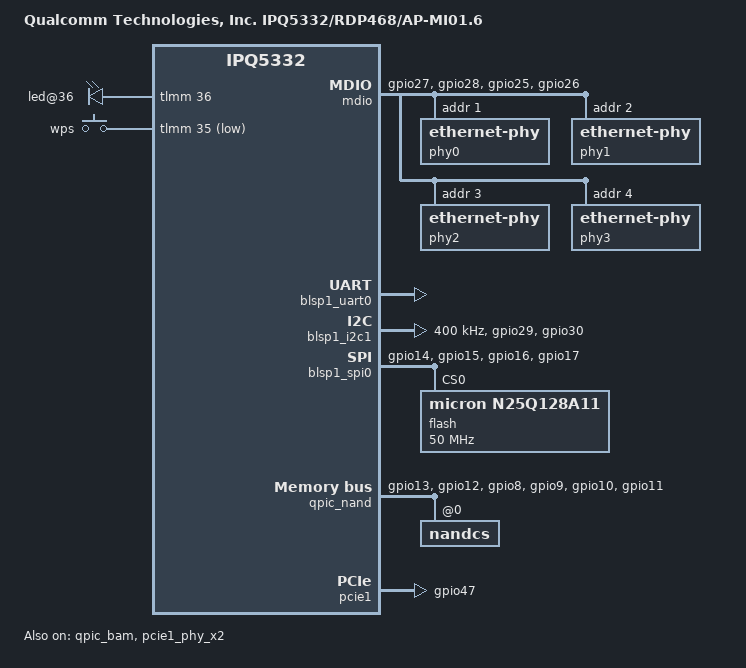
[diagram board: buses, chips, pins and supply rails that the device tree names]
// SPDX-License-Identifier: (GPL-2.0+ OR BSD-3-Clause)
/*
 * IPQ5332 RDP468 board device tree source
 *
 * Copyright (c) 2020-2021 The Linux Foundation. All rights reserved.
 * Copyright (c) 2022-2023 Qualcomm Innovation Center, Inc. All rights reserved.
 */

/dts-v1/;

#include <dt-bindings/gpio/gpio.h>
#include <dt-bindings/input/input.h>
#include "ipq5332.dtsi"

/ {
	model = "Qualcomm Technologies, Inc. IPQ5332/RDP468/AP-MI01.6";
	compatible = "qcom,ipq5332-ap-mi01.6", "qcom,ipq5332-rdp468", "qcom,ipq5332";

	aliases {
		serial0 = &blsp1_uart0;
	};

	chosen {
		stdout-path = "serial0";
	};

	soc@0 {
		mdio:mdio@90000 {
			pinctrl-0 = <&mdio1_pins &mdio0_pins>;
			pinctrl-names = "default";
			/*gpio51 for manhattan reset*/
			phy-reset-gpio = <&tlmm 51 GPIO_ACTIVE_LOW>;
			phyaddr_fixup = <0xC90F018>;
			uniphyaddr_fixup = <0xC90F014>;
			mdio_clk_fixup; /* MDIO clock sequence fix up flag */
			status = "okay";

			phy0: ethernet-phy@0 {
				reg = <1>;
				fixup;
			};
			phy1: ethernet-phy@1 {
				reg = <2>;
				fixup;
			};
			phy2: ethernet-phy@2 {
				reg = <3>;
				fixup;
			};
			phy3: ethernet-phy@3 {
				reg = <4>;
				fixup;
			};
		};

		ess-instance {
			num_devices = <0x2>;

			ess-switch@3a000000 {
				switch_cpu_bmp = <0x1>;  /* cpu port bitmap */
				switch_lan_bmp = <0x2>; /* lan port bitmap */
				switch_wan_bmp = <0x4>; /* wan port bitmap */
				switch_mac_mode = <0xc>; /* mac mode for uniphy instance0*/
				switch_mac_mode1 = <0xf>; /* mac mode for uniphy instance1*/
				switch_mac_mode2 = <0xff>; /* mac mode for uniphy instance2*/

				qcom,port_phyinfo {
					port@0 {
						port_id = <1>;
						forced-speed = <2500>;
						forced-duplex = <1>;
					};
					port@1 {
						port_id = <2>;
						phy_address = <4>;
					};
				};

				led_source@5 {
					source = <5>;
					mode = "normal";
					speed = "all";
					blink_en = "enable";
					active = "high";
				};
			};

			ess-switch1@1 {
				compatible = "qcom,ess-switch-qca8386";
				device_id = <1>;
				switch_access_mode = "mdio";
				mdio-bus = <&mdio>;
				switch_mac_mode = <0xc>; /* mac mode for uniphy instance0 */
				switch_mac_mode1 = <0xff>; /* mac mode1 for uniphy instance1 */
				switch_cpu_bmp = <0x1>;  /* cpu port bitmap */
				switch_lan_bmp = <0xe>; /* lan port bitmap */
				switch_wan_bmp = <0x0>;  /* wan port bitmap */
				link-polling-required = <0>;
				link-intr-gpio = <&tlmm 23 GPIO_ACTIVE_HIGH>;

				qcom,port_phyinfo {
					port@0 {
						port_id = <0>;
						forced-speed = <2500>;
						forced-duplex = <1>;
					};
					port@1 {
						port_id = <1>;
						phy_address = <1>;
					};
					port@2 {
						port_id = <2>;
						phy_address = <2>;
					};
					port@3 {
						port_id = <3>;
						phy_address = <3>;
					};
				};

				led_source@2 {
					source = <2>;
					mode = "normal";
					speed = "all";
					blink_en = "enable";
					active = "high";
				};
				led_source@5 {
					source = <5>;
					mode = "normal";
					speed = "all";
					blink_en = "enable";
					active = "high";
				};
				led_source@8 {
					source = <8>;
					mode = "normal";
					speed = "all";
					blink_en = "enable";
					active = "high";
				};
			};
		};

		leds {
			compatible = "gpio-leds";
			pinctrl-0 = <&leds_pins>;
			pinctrl-names = "default";
			led@36 {
				gpios = <&tlmm 36 GPIO_ACTIVE_HIGH>;
				linux,default-trigger = "led_2g";
				default-state = "off";
			};
		};

		gpio_keys {
			compatible = "gpio-keys";
			pinctrl-0 = <&button_pins>;
			pinctrl-names = "default";
			status = "okay";

			button@1 {
				label = "wps";
				linux,code = <KEY_WPS_BUTTON>;
				gpios = <&tlmm 35 GPIO_ACTIVE_LOW>;
				linux,input-type = <1>;
				debounce-interval = <60>;
			};
		};

	};
};

&blsp1_uart0 {
	pinctrl-0 = <&serial_0_pins>;
	pinctrl-names = "default";
	status = "okay";
};

&blsp1_i2c1 {
	clock-frequency  = <400000>;
	pinctrl-0 = <&i2c_1_pins>;
	pinctrl-names = "default";
};

&blsp1_spi0 {
	pinctrl-0 = <&spi_0_data_clk_pins &spi_0_cs_pins>;
	pinctrl-names = "default";
	status = "okay";

	flash@0 {
		compatible = "micron,n25q128a11", "jedec,spi-nor";
		reg = <0>;
		#address-cells = <1>;
		#size-cells = <1>;
		spi-max-frequency = <50000000>;
	};
};

&sdhc {
	bus-width = <4>;
	max-frequency = <192000000>;
	mmc-ddr-1_8v;
	mmc-hs200-1_8v;
	non-removable;
	pinctrl-0 = <&sdc_default_state>;
	pinctrl-names = "default";
	status = "disabled";
};

&sleep_clk {
	clock-frequency = <32000>;
};

&xo_board {
	clock-frequency = <24000000>;
};

&qpic_bam {
	status = "okay";
};

&qpic_nand {
	pinctrl-0 = <&qspi_default_state>;
	pinctrl-names = "default";
	status = "okay";

	nandcs@0 {
		reg = <0>;
		#address-cells = <1>;
		#size-cells = <1>;

		nand-ecc-strength = <8>;
		nand-ecc-step-size = <512>;
		nand-bus-width = <8>;
	};
};

&pcie1_phy_x2 {
	status = "okay";
};

&pcie1 {
	pinctrl-0 = <&pcie1_default_state>;
	pinctrl-names = "default";
	perst-gpios = <&tlmm 47 GPIO_ACTIVE_LOW>;
	status = "okay";
};

/* PINCTRL */

&tlmm {
	i2c_1_pins: i2c-1-state {
		pins = "gpio29", "gpio30";
		function = "blsp1_i2c0";
		drive-strength = <8>;
		bias-pull-up;
	};

	sdc_default_state: sdc-default-state {
		clk-pins {
			pins = "gpio13";
			function = "sdc_clk";
			drive-strength = <8>;
			bias-disable;
		};

		cmd-pins {
			pins = "gpio12";
			function = "sdc_cmd";
			drive-strength = <8>;
			bias-pull-up;
		};

		data-pins {
			pins = "gpio8", "gpio9", "gpio10", "gpio11";
			function = "sdc_data";
			drive-strength = <8>;
			bias-pull-up;
		};
	};

	spi_0_data_clk_pins: spi-0-data-clk-state {
		pins = "gpio14", "gpio15", "gpio16";
		function = "blsp0_spi";
		drive-strength = <2>;
		bias-pull-down;
	};

	spi_0_cs_pins: spi-0-cs-state {
		pins = "gpio17";
		function = "blsp0_spi";
		drive-strength = <2>;
		bias-pull-up;
	};

	qspi_default_state: qspi-default-state {
		qspi_clock {
			pins = "gpio13";
			function = "qspi_clk";
			drive-strength = <8>;
			bias-pull-down;
		};

		qspi_cs {
			pins = "gpio12";
			function = "qspi_cs";
			drive-strength = <8>;
			bias-pull-up;
		};

		qspi_data {
			pins = "gpio8", "gpio9", "gpio10", "gpio11";
			function = "qspi_data";
			drive-strength = <8>;
			bias-pull-down;
		};
	};

	leds_pins: leds-state {
		pins = "gpio36";
		function = "gpio";
		drive-strength = <8>;
		bias-pull-down;
	};

	button_pins: button-state {
		pins = "gpio35";
		function = "gpio";
		drive-strength = <8>;
		bias-pull-up;
	};

	pcie1_default_state: pcie1-default-state {
		pins = "gpio47";
		function = "gpio";
		drive-strength = <8>;
		bias-pull-up;
		output-low;
	};

	mdio0_pins: mdio0-state {
		mux_0 {
			pins = "gpio25";
			function = "mdc0";
			drive-strength = <8>;
			bias-disable;
		};
		mux_1 {
			pins = "gpio26";
			function = "mdio0";
			drive-strength = <8>;
			bias-pull-up;
		};
	};

	mdio1_pins: mdio1-state {
		mux_0 {
			pins = "gpio27";
			function = "mdc1";
			drive-strength = <8>;
			bias-disable;
		};
		mux_1 {
			pins = "gpio28";
			function = "mdio1";
			drive-strength = <8>;
			bias-pull-up;
		};
	};
};
